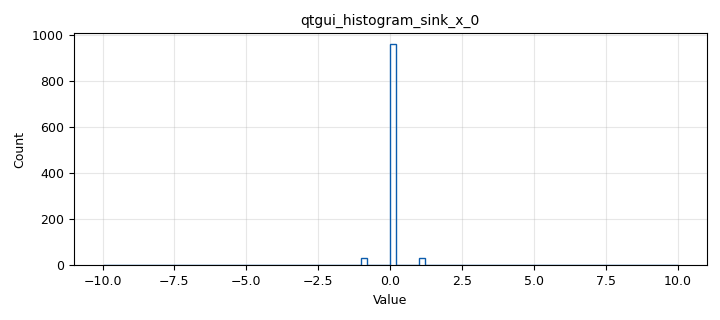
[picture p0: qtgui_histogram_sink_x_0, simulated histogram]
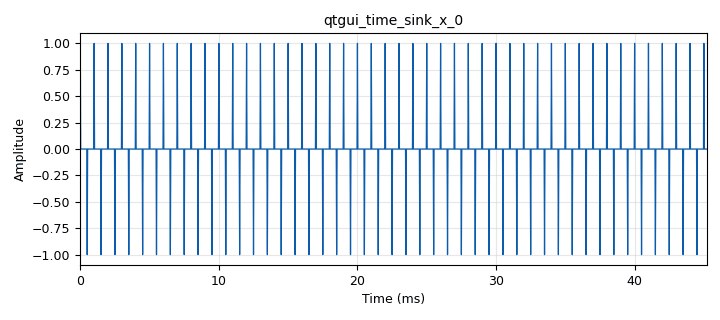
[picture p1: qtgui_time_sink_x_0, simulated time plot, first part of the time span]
options:
  parameters:
    author: vivelpanel
    comment: 'Complexity: 59ubaI'
    generate_options: qt_gui
    id: top_block
    output_language: python
    title: Not titled yet
  states: {}

blocks:
- name: samp_rate
  id: variable
  parameters:
    value: '32000'
  states: {}
- name: scale
  id: variable_qtgui_range
  parameters:
    start: '0'
    step: '.1'
    stop: '10'
    value: '1'
  states: {}
- name: analog_noise_source_x_0
  id: analog_noise_source_x
  parameters:
    amp: '1'
    noise_type: analog.GR_GAUSSIAN
    seed: '0'
    type: int
  states: {state: disabled}
- name: analog_random_uniform_source_x_0
  id: analog_random_uniform_source_x
  parameters:
    maximum: '10'
    minimum: '-10'
    seed: '3'
    type: int
  states: {state: disabled}
- name: analog_sig_source_x_0
  id: analog_sig_source_x
  parameters:
    amp: '1'
    freq: '1000'
    offset: '0'
    phase: '0'
    samp_rate: samp_rate
    type: int
    waveform: analog.GR_COS_WAVE
  states: {}
- name: blocks_int_to_float_0
  id: blocks_int_to_float
  parameters:
    scale: scale
  states: {}
- name: blocks_throttle_0
  id: blocks_throttle
  parameters:
    samples_per_second: samp_rate
    type: int
  states: {}
- name: import_0
  id: import
  parameters:
    imports: import numpy as np
  states: {}
- name: qtgui_histogram_sink_x_0
  id: qtgui_histogram_sink_x
  parameters:
    bins: '100'
    size: '1024'
    type: float
    xmax: '10'
    xmin: '-10'
  states: {}
- name: qtgui_time_sink_x_0
  id: qtgui_time_sink_x
  parameters:
    autoscale: 'True'
    size: '3072'
    srate: samp_rate
    type: float
  states: {}

connections:
- [analog_noise_source_x_0, '0', blocks_throttle_0, '0']
- [analog_random_uniform_source_x_0, '0', blocks_throttle_0, '0']
- [analog_sig_source_x_0, '0', blocks_throttle_0, '0']
- [blocks_int_to_float_0, '0', qtgui_histogram_sink_x_0, '0']
- [blocks_int_to_float_0, '0', qtgui_time_sink_x_0, '0']
- [blocks_throttle_0, '0', blocks_int_to_float_0, '0']

metadata:
  file_format: 1
